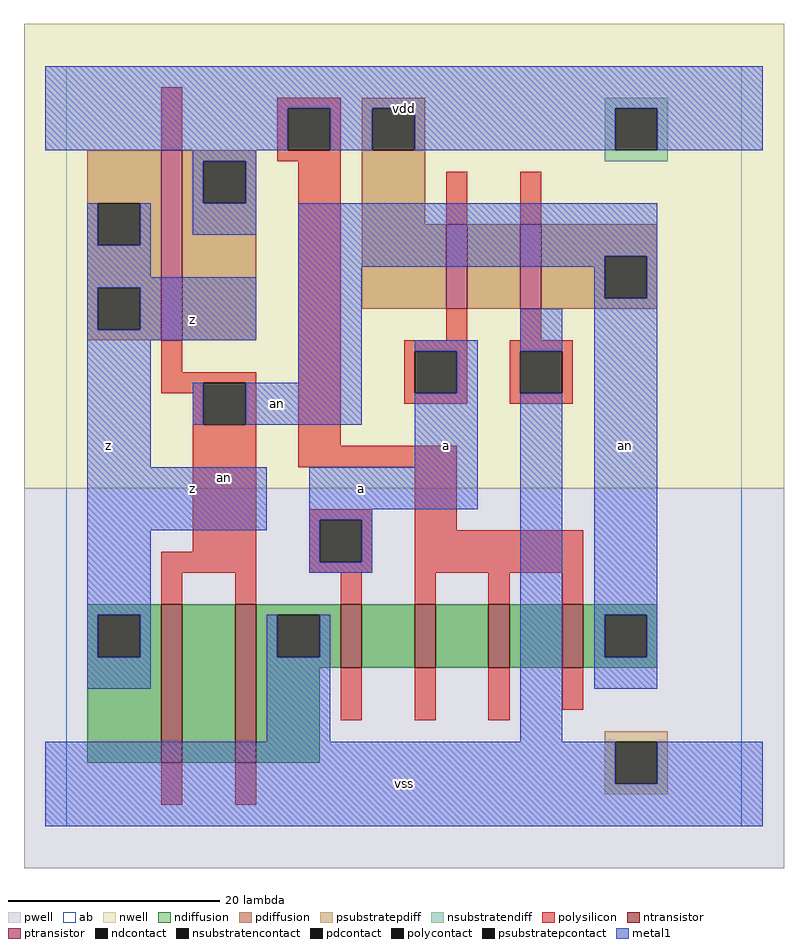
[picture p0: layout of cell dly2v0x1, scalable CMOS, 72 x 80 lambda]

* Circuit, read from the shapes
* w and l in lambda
.subckt dly2v0x1 a an vdd vss z
M1 n1 an z vss nfet w=15 l=2
M2 vss an n1 vss nfet w=15 l=2
M3 n2 a vss vss nfet w=6 l=2
M4 n3 vdd n2 vss nfet w=6 l=2
M5 n4 vdd n3 vss nfet w=6 l=2
M6 an vdd n4 vss nfet w=6 l=2
M7 vdd an z vdd pfet w=18 l=2
M8 n5 a vdd vdd pfet w=8 l=2
M9 an vss n5 vdd pfet w=8 l=2
.ends

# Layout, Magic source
magic
tech scmos
<< ab >>
rect 0 0 64 72
<< pwell >>
rect -4 -4 68 32
<< nwell >>
rect -4 32 68 76
<< polysilicon >>
rect 9 64 11 70
rect 20 68 26 69
rect 20 64 21 68
rect 25 64 26 68
rect 20 63 26 64
rect 9 43 11 46
rect 9 42 18 43
rect 9 41 13 42
rect 12 38 13 41
rect 17 38 18 42
rect 12 26 18 38
rect 22 36 26 63
rect 36 57 38 62
rect 43 57 45 62
rect 36 46 38 49
rect 43 46 45 49
rect 32 45 38 46
rect 32 41 33 45
rect 37 41 38 45
rect 32 40 38 41
rect 42 45 48 46
rect 42 41 43 45
rect 47 41 48 45
rect 42 40 48 41
rect 22 34 37 36
rect 9 24 18 26
rect 23 29 29 30
rect 23 25 24 29
rect 28 25 29 29
rect 23 24 29 25
rect 33 28 37 34
rect 33 24 49 28
rect 9 21 11 24
rect 16 21 18 24
rect 26 21 28 24
rect 33 21 35 24
rect 40 21 42 24
rect 47 21 49 24
rect 26 10 28 15
rect 33 10 35 15
rect 40 10 42 15
rect 47 11 49 15
rect 9 2 11 6
rect 16 2 18 6
<< ndiffusion >>
rect 2 20 9 21
rect 2 16 3 20
rect 7 16 9 20
rect 2 6 9 16
rect 11 6 16 21
rect 18 20 26 21
rect 18 16 20 20
rect 24 16 26 20
rect 18 15 26 16
rect 28 15 33 21
rect 35 15 40 21
rect 42 15 47 21
rect 49 20 56 21
rect 49 16 51 20
rect 55 16 56 20
rect 49 15 56 16
rect 18 6 24 15
<< pdiffusion >>
rect 2 59 9 64
rect 2 55 3 59
rect 7 55 9 59
rect 2 51 9 55
rect 2 47 3 51
rect 7 47 9 51
rect 2 46 9 47
rect 11 63 18 64
rect 11 59 13 63
rect 17 59 18 63
rect 11 46 18 59
rect 28 68 34 69
rect 28 64 29 68
rect 33 64 34 68
rect 28 57 34 64
rect 28 49 36 57
rect 38 49 43 57
rect 45 54 56 57
rect 45 50 51 54
rect 55 50 56 54
rect 45 49 56 50
<< metal1 >>
rect -2 68 66 72
rect -2 64 21 68
rect 25 64 29 68
rect 33 64 52 68
rect 56 64 66 68
rect 12 63 18 64
rect 12 59 13 63
rect 17 59 18 63
rect 2 55 3 59
rect 7 55 8 59
rect 12 56 18 59
rect 2 52 8 55
rect 22 54 56 59
rect 22 53 51 54
rect 2 51 18 52
rect 2 47 3 51
rect 7 47 18 51
rect 2 46 18 47
rect 2 34 8 46
rect 22 42 28 53
rect 50 50 51 53
rect 55 50 56 54
rect 12 38 13 42
rect 17 38 28 42
rect 33 45 39 46
rect 37 41 39 45
rect 33 34 39 41
rect 2 28 19 34
rect 23 30 39 34
rect 43 45 47 49
rect 23 29 29 30
rect 2 20 8 28
rect 23 25 24 29
rect 28 25 29 29
rect 23 24 29 25
rect 2 16 3 20
rect 7 16 8 20
rect 2 13 8 16
rect 19 16 20 20
rect 24 16 25 20
rect 19 8 25 16
rect 43 8 47 41
rect 50 20 56 50
rect 50 16 51 20
rect 55 16 56 20
rect 50 13 56 16
rect -2 4 52 8
rect 56 4 66 8
rect -2 0 66 4
<< ntransistor >>
rect 9 6 11 21
rect 16 6 18 21
rect 26 15 28 21
rect 33 15 35 21
rect 40 15 42 21
rect 47 15 49 21
<< ptransistor >>
rect 9 46 11 64
rect 36 49 38 57
rect 43 49 45 57
<< polycontact >>
rect 21 64 25 68
rect 13 38 17 42
rect 33 41 37 45
rect 43 41 47 45
rect 24 25 28 29
<< ndcontact >>
rect 3 16 7 20
rect 20 16 24 20
rect 51 16 55 20
<< pdcontact >>
rect 3 55 7 59
rect 3 47 7 51
rect 13 59 17 63
rect 29 64 33 68
rect 51 50 55 54
<< psubstratepcontact >>
rect 52 4 56 8
<< nsubstratencontact >>
rect 52 64 56 68
<< psubstratepdiff >>
rect 51 8 57 9
rect 51 4 52 8
rect 56 4 57 8
rect 51 3 57 4
<< nsubstratendiff >>
rect 51 68 57 69
rect 51 64 52 68
rect 56 64 57 68
rect 51 63 57 64
<< labels >>
rlabel polysilicon 15 33 15 33 6 an
rlabel metal1 12 32 12 32 6 z
rlabel metal1 4 36 4 36 6 z
rlabel metal1 12 48 12 48 6 z
rlabel metal1 28 32 28 32 6 a
rlabel metal1 20 40 20 40 6 an
rlabel metal1 32 4 32 4 6 vss
rlabel metal1 36 36 36 36 6 a
rlabel metal1 32 68 32 68 6 vdd
rlabel metal1 53 36 53 36 6 an
<< end >>
